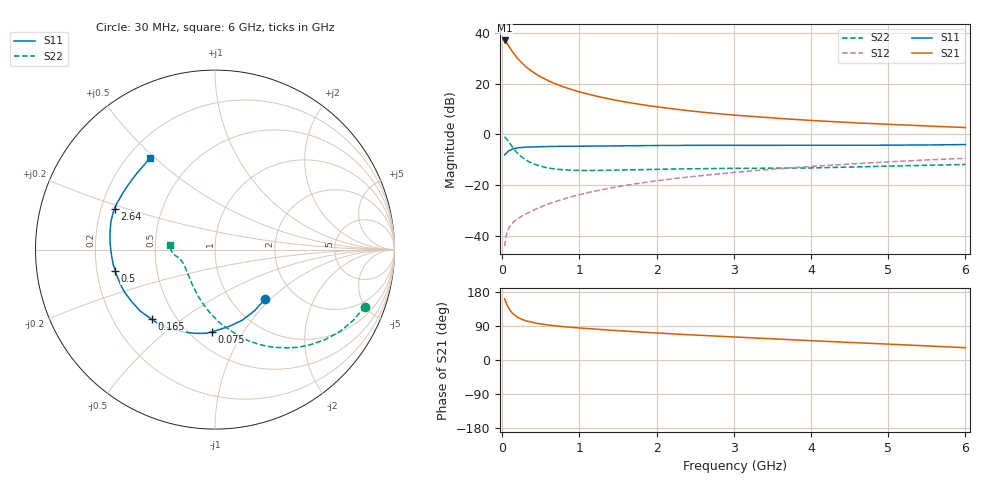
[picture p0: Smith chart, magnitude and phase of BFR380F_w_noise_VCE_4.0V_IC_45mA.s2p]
! Infineon Technologies  Discrete & RF Semiconductors
! BFR380F
! VCE =  4.0 V,  IC =  45 mA
! Common Emitter S-Parameters:  Nov 2015
# GHz  S  MA  R  50
!  f  S11  S21  S12  S22
! GHz  MAG  ANG  MAG  ANG  MAG  ANG  MAG  ANG
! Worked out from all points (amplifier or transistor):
!   206 points, 30 MHz to 6 GHz, reference 50 ohm
!   highest |S21| = 37.0 dB at 30 MHz (marker M1)
!   |S21| within 3 dB of that: start of sweep to 100.6 MHz
!   unconditionally stable (mu >= 1): 937.3 MHz to 4.884 GHz
!   at 200 MHz: K = 0.58, MSG = 31.6 dB, |S12| = -33.3 dB
!   at 1.56 GHz: K = 1.03, MAG = 15.5 dB, |S12| = -20.4 dB
!   at 6 GHz: K = 0.99, MSG = 6.1 dB, |S12| = -9.5 dB
!   lowest NFmin = 1.45 dB at 900 MHz
!   S11 on the Smith chart (normalised r, x): 30 MHz: 1.42, -0.93; 75 MHz: 0.64, -0.74; 165 MHz: 0.37, -0.39; 500 MHz: 0.28, -0.10; 2.64 GHz: 0.26, +0.18; 6 GHz: 0.29, +0.48
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0.03  0.3928 -44.7  70.67 161.3  0.0062 78.1  0.8941 -20.8
0.05  0.4216 -68.8  65.53 150.3  0.0098 70.0  0.8313 -33.5
0.07  0.4494 -88.3  59.12 141.4  0.0125 65.1  0.7545 -44.4
0.075  0.4575 -92.0  57.57 139.6  0.013 64.3  0.7355 -46.7
0.095  0.4807 -104.8  51.57 132.8  0.0149 60.5  0.6636 -55.4
0.12  0.4996 -117.5  45.1 126.0  0.017 57.7  0.5854 -64.7
0.15  0.5209 -128.4  38.79 119.8  0.0189 56.4  0.5097 -73.5
0.165  0.5239 -132.2  36.38 117.9  0.0197 56.2  0.4805 -76.5
0.2  0.5396 -140.7  30.95 112.4  0.0216 55.8  0.4187 -85.0
0.24  0.5458 -147.2  26.69 108.6  0.0237 56.6  0.3688 -92.0
0.3  0.5568 -154.7  21.77 103.8  0.0266 58.2  0.3145 -101.5
0.4  0.5632 -162.7  16.66 98.6  0.0316 61.2  0.2622 -113.4
0.5  0.5689 -168.0  13.45 95.0  0.0369 63.7  0.2325 -122.9
0.7  0.5757 -174.9  9.697 89.9  0.0477 67.1  0.2049 -136.6
1.04  0.5836 177.5  6.584 83.7  0.0666 69.9  0.1926 -150.7
1.4  0.5911 171.9  4.905 78.6  0.0869 70.7  0.1946 -159.0
2.02  0.6009 164.3  3.444 71.1  0.1217 70.1  0.2034 -165.1
2.64  0.6038 158.0  2.674 64.3  0.1559 68.6  0.2102 -168.5
3.1  0.6032 153.8  2.322 59.9  0.1817 66.9  0.2126 -169.2
4.1  0.6027 144.1  1.833 50.1  0.237 62.5  0.2177 -170.1
5.1  0.6089 135.0  1.544 41.0  0.2901 57.7  0.2369 -175.4
6  0.6261 125.3  1.353 32.5  0.3343 52.3  0.2527 174.2
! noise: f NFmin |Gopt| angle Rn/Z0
0.45  1.48  0.39  -176  0.08
0.9  1.45  0.41  -175  0.07
1.8  1.65  0.46  -163  0.09
1.9  1.73  0.47  -164  0.09
2.4  1.79  0.48  -154  0.11
3.5  2.39  0.53  -144  0.18
